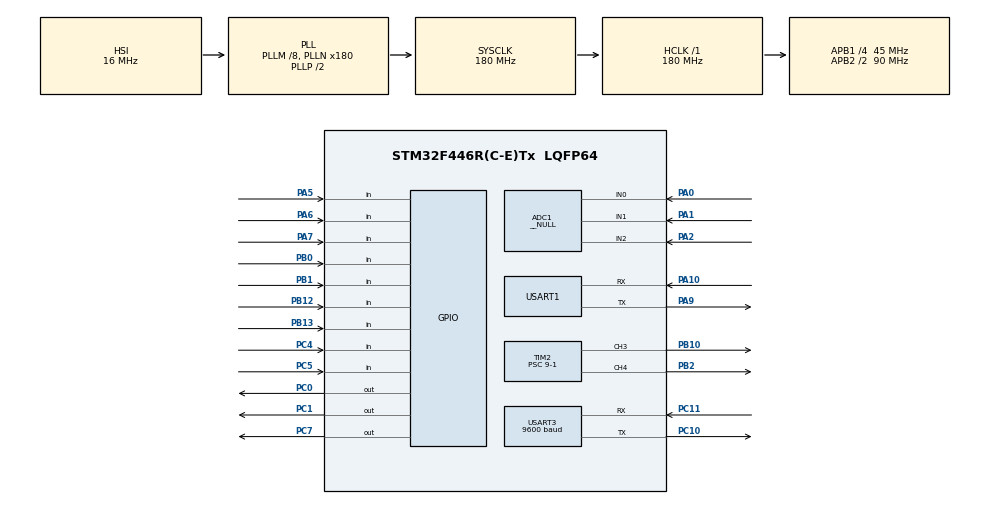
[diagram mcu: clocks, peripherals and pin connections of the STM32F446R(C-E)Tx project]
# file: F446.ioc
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ADC1.Channel-0\#ChannelRegularConversion=ADC_CHANNEL_0
ADC1.Channel-4\#ChannelRegularConversion=ADC_CHANNEL_1
ADC1.Channel-5\#ChannelRegularConversion=ADC_CHANNEL_2
ADC1.ContinuousConvMode=ENABLE
ADC1.DMAContinuousRequests=ENABLE
ADC1.InjNumberOfConversion=0
ADC1.Mode=__NULL
ADC1.NbrOfConversion=3
ADC1.NbrOfConversionFlag=1
ADC1.Rank-0\#ChannelRegularConversion=1
ADC1.Rank-4\#ChannelRegularConversion=2
ADC1.Rank-5\#ChannelRegularConversion=3
ADC1.SamplingTime-0\#ChannelRegularConversion=ADC_SAMPLETIME_56CYCLES
ADC1.SamplingTime-4\#ChannelRegularConversion=ADC_SAMPLETIME_28CYCLES
ADC1.SamplingTime-5\#ChannelRegularConversion=ADC_SAMPLETIME_28CYCLES
ADC1.ScanConvMode=ENABLE
ADC1.master=1
Dma.ADC1.3.Direction=DMA_PERIPH_TO_MEMORY
Dma.ADC1.3.FIFOMode=DMA_FIFOMODE_DISABLE
Dma.ADC1.3.Instance=DMA2_Stream4
Dma.ADC1.3.MemDataAlignment=DMA_MDATAALIGN_HALFWORD
Dma.ADC1.3.MemInc=DMA_MINC_ENABLE
Dma.ADC1.3.Mode=DMA_CIRCULAR
Dma.ADC1.3.PeriphDataAlignment=DMA_PDATAALIGN_HALFWORD
Dma.ADC1.3.PeriphInc=DMA_PINC_DISABLE
Dma.ADC1.3.Priority=DMA_PRIORITY_HIGH
Dma.MEMTOMEM.2.Direction=DMA_MEMORY_TO_MEMORY
Dma.MEMTOMEM.2.FIFOMode=DMA_FIFOMODE_ENABLE
Dma.MEMTOMEM.2.FIFOThreshold=DMA_FIFO_THRESHOLD_FULL
Dma.MEMTOMEM.2.Instance=DMA2_Stream0
Dma.MEMTOMEM.2.MemBurst=DMA_MBURST_SINGLE
Dma.MEMTOMEM.2.MemDataAlignment=DMA_MDATAALIGN_BYTE
Dma.MEMTOMEM.2.MemInc=DMA_MINC_ENABLE
Dma.MEMTOMEM.2.Mode=DMA_NORMAL
Dma.MEMTOMEM.2.PeriphBurst=DMA_PBURST_SINGLE
Dma.MEMTOMEM.2.PeriphDataAlignment=DMA_PDATAALIGN_BYTE
Dma.MEMTOMEM.2.PeriphInc=DMA_PINC_ENABLE
Dma.MEMTOMEM.2.Priority=DMA_PRIORITY_LOW
Dma.Request0=USART1_TX
Dma.Request1=USART1_RX
Dma.Request2=MEMTOMEM
Dma.Request3=ADC1
Dma.USART1_RX.1.Direction=DMA_PERIPH_TO_MEMORY
Dma.USART1_RX.1.FIFOMode=DMA_FIFOMODE_DISABLE
Dma.USART1_RX.1.Instance=DMA2_Stream2
Dma.USART1_RX.1.MemDataAlignment=DMA_MDATAALIGN_BYTE
Dma.USART1_RX.1.MemInc=DMA_MINC_ENABLE
Dma.USART1_RX.1.Mode=DMA_NORMAL
Dma.USART1_RX.1.PeriphDataAlignment=DMA_PDATAALIGN_BYTE
Dma.USART1_RX.1.PeriphInc=DMA_PINC_DISABLE
Dma.USART1_RX.1.Priority=DMA_PRIORITY_MEDIUM
Dma.USART1_TX.0.Direction=DMA_MEMORY_TO_PERIPH
Dma.USART1_TX.0.FIFOMode=DMA_FIFOMODE_DISABLE
Dma.USART1_TX.0.Instance=DMA2_Stream7
Dma.USART1_TX.0.MemDataAlignment=DMA_MDATAALIGN_BYTE
Dma.USART1_TX.0.MemInc=DMA_MINC_ENABLE
Dma.USART1_TX.0.Mode=DMA_NORMAL
Dma.USART1_TX.0.PeriphDataAlignment=DMA_PDATAALIGN_BYTE
Dma.USART1_TX.0.PeriphInc=DMA_PINC_DISABLE
Dma.USART1_TX.0.Priority=DMA_PRIORITY_MEDIUM
Mcu.Family=STM32F4
Mcu.Name=STM32F446R(C-E)Tx
Mcu.Package=LQFP64
NVIC.DMA2_Stream2_IRQn=true\:0\:0\:false\:false\:true\:false\:true\:true
NVIC.DMA2_Stream4_IRQn=true\:0\:0\:false\:false\:true\:false\:true\:true
NVIC.DMA2_Stream7_IRQn=true\:0\:0\:false\:false\:true\:false\:true\:true
NVIC.PriorityGroup=NVIC_PRIORITYGROUP_4
NVIC.TIM1_UP_TIM10_IRQn=true\:0\:0\:true\:false\:true\:true\:true\:true
NVIC.TIM3_IRQn=true\:0\:0\:false\:false\:true\:true\:true\:true
NVIC.USART1_IRQn=true\:15\:0\:true\:false\:true\:true\:true\:true
NVIC.USART3_IRQn=true\:0\:0\:false\:false\:true\:true\:true\:true
PA0-WKUP.Signal=ADCx_IN0
PA1.Signal=ADCx_IN1
PA10.GPIO_ModeDefaultPP=GPIO_MODE_AF_PP
PA10.GPIO_PuPd=GPIO_PULLUP
PA10.Mode=Asynchronous
PA10.Signal=USART1_RX
PA13.Mode=Serial_Wire
PA13.Signal=SYS_JTMS-SWDIO
PA14.Mode=Serial_Wire
PA14.Signal=SYS_JTCK-SWCLK
PA2.Signal=ADCx_IN2
PA5.GPIO_PuPd=GPIO_PULLUP
PA5.Signal=GPIO_Input
PA6.GPIO_PuPd=GPIO_PULLUP
PA6.Signal=GPIO_Input
PA7.GPIO_PuPd=GPIO_PULLUP
PA7.Signal=GPIO_Input
PA9.GPIO_ModeDefaultPP=GPIO_MODE_AF_PP
PA9.GPIO_PuPd=GPIO_PULLUP
PA9.Mode=Asynchronous
PA9.Signal=USART1_TX
PB0.GPIO_PuPd=GPIO_PULLUP
PB0.Signal=GPIO_Input
PB1.GPIO_PuPd=GPIO_PULLUP
PB1.Signal=GPIO_Input
PB10.Signal=S_TIM2_CH3
PB12.GPIO_PuPd=GPIO_PULLUP
PB12.Signal=GPIO_Input
PB13.GPIO_PuPd=GPIO_PULLUP
PB13.Signal=GPIO_Input
PB2.Signal=S_TIM2_CH4
PC0.Signal=GPIO_Output
PC1.Signal=GPIO_Output
PC10.Mode=Asynchronous
PC10.Signal=USART3_TX
PC11.Mode=Asynchronous
PC11.Signal=USART3_RX
PC4.GPIO_PuPd=GPIO_PULLUP
PC4.Signal=GPIO_Input
PC5.GPIO_PuPd=GPIO_PULLUP
PC5.Signal=GPIO_Input
PC7.GPIO_ModeDefaultOutputPP=GPIO_MODE_OUTPUT_PP
PC7.PinState=GPIO_PIN_RESET
PC7.Signal=GPIO_Output
PH0-OSC_IN.Mode=HSE-External-Oscillator
PH0-OSC_IN.Signal=RCC_OSC_IN
PH1-OSC_OUT.Mode=HSE-External-Oscillator
PH1-OSC_OUT.Signal=RCC_OSC_OUT
ProjectManager.HeapSize=0x200
ProjectManager.StackSize=0x400
ProjectManager.TargetToolchain=STM32CubeIDE
RCC.AHBFreq_Value=180000000
RCC.APB1CLKDivider=RCC_HCLK_DIV4
RCC.APB1Freq_Value=45000000
RCC.APB1TimFreq_Value=90000000
RCC.APB2CLKDivider=RCC_HCLK_DIV2
RCC.APB2Freq_Value=90000000
RCC.APB2TimFreq_Value=180000000
RCC.CortexFreq_Value=180000000
RCC.HCLKFreq_Value=180000000
RCC.HSE_VALUE=8000000
RCC.PLLM=8
RCC.PLLN=180
RCC.SYSCLKFreq_VALUE=180000000
RCC.SYSCLKSource=RCC_SYSCLKSOURCE_PLLCLK
RCC.USBFreq_Value=180000000
RCC.VCOOutputFreq_Value=360000000
SH.ADCx_IN0.0=ADC1_IN0,IN0
SH.ADCx_IN1.0=ADC1_IN1,IN1
SH.ADCx_IN2.0=ADC1_IN2,IN2
SH.S_TIM2_CH3.0=TIM2_CH3,PWM Generation3 CH3
SH.S_TIM2_CH4.0=TIM2_CH4,PWM Generation4 CH4
TIM1.AutoReloadPreload=TIM_AUTORELOAD_PRELOAD_ENABLE
TIM1.Period=999
TIM1.Prescaler=18
TIM2.Channel-PWM\ Generation3\ CH3=TIM_CHANNEL_3
TIM2.Channel-PWM\ Generation4\ CH4=TIM_CHANNEL_4
TIM2.Period=500
TIM2.Prescaler=9-1
TIM2.Pulse-PWM\ Generation3\ CH3=250
TIM2.Pulse-PWM\ Generation4\ CH4=250
TIM3.Period=999
TIM3.Prescaler=179
USART1.VirtualMode=VM_ASYNC
USART3.BaudRate=9600
USART3.VirtualMode=VM_ASYNC
VP_TIM1_VS_ClockSourceINT.Mode=Internal
VP_TIM3_VS_ClockSourceINT.Mode=Internal
board=custom

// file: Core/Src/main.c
/* USER CODE BEGIN Header */
/**
  ******************************************************************************
  * @file           : main.c
  * @brief          : Main program body
  ******************************************************************************
  * @attention
  *
  * Copyright (c) 2024 STMicroelectronics.
  * All rights reserved.
  *
  * This software is licensed under terms that can be found in the LICENSE file
  * in the root directory of this software component.
  * If no LICENSE file comes with this software, it is provided AS-IS.
  *
  ******************************************************************************
  */
/* USER CODE END Header */
#include "main.h"
#include "adc.h"
#include "dma.h"
#include "tim.h"
#include "usart.h"
#include "gpio.h"
#include "delay.h"
#include "stm32f4xx_it.h"
#include "ES1642.h"

/* USER CODE BEGIN Includes */
#include "bmp.h"
//#include "oled.h"
//#include "bmp.h"
/* USER CODE END Includes */

/* USER CODE BEGIN PD */
#define data_length 2
#define buff_length 17+data_length
/* USER CODE END PD */

/* USER CODE BEGIN PV */
u8     tmp[buff_length] = {0x79,0x0C,0x00,0x58,0x14,0x44,0x10,0xF9,0x30,0x50,0x68,0x00,0x53,0x02,0x00,0x03,0x04,0x09,0xB3};
uint8_t uart_tx_enabled = 0;
/*				  发送数据		 79H [Data]长度 Ctrl Cmd [RSV  深度 {        Dst Addr            } DataLen  User Data] SUM XOR*/
/* USER CODE END PV */

void SystemClock_Config(void);

//uint8_t rx_data=0;
//volatile uint8_t flag_received = 0;

int main(void)
{
  /* USER CODE BEGIN 1 */
//	Temp_PWM_Control();
  /* USER CODE END 1 */
  /* MCU Configuration--------------------------------------------------------*/

  /* Reset of all peripherals, Initializes the Flash interface and the Systick. */
  HAL_Init();

  /* Configure the system clock */
  SystemClock_Config();

  /* USER CODE BEGIN SysInit */
  SysTick_Config(SystemCoreClock / 1000);
//  u8 t=' ';
  delay_init();

  /* USER CODE END SysInit */

  /* Initialize all configured peripherals */

  MX_DMA_Init();
  MX_USART1_UART_Init();
  MX_ADC1_Init();
  MX_TIM1_Init();

  MX_TIM3_Init();
	MX_TIM2_Init();
	MX_GPIO_Init();
  StateMachine_Init(&stateMach);
  /* USER CODE BEGIN 2 */
  OLED_Init();
  HAL_ADC_Start_DMA(&hadc1, (uint32_t *)AdcBuf, 5);
  HAL_TIM_Base_Start_IT(&htim1);
  HAL_TIM_Base_Start_IT(&htim3);
  HAL_UART_Receive_IT(&huart1,(uint8_t *)stateMach.bt_rx_buffer, 1);

  HAL_TIM_PWM_Start(&htim2, TIM_CHANNEL_3);
  HAL_TIM_PWM_Start(&htim2, TIM_CHANNEL_4);
  __HAL_TIM_SetCompare(&htim2,TIM_CHANNEL_3,duty1);
  __HAL_TIM_SetCompare(&htim2,TIM_CHANNEL_4,duty2);
  frame_length = build_data_frame(broadcast_addr,heartRxData,sizeof(heartRxData),1,ES1642_frame,sizeof(ES1642_frame));
//  debug_testflash_struct();
  /* USER CODE END 2 */
  delay_ms(3000);
  MX_USART3_UART_Init();
  HAL_UART_Receive_IT(&huart3, RX_data, 1);
  /* Infinite loop */
  /* USER CODE BEGIN WHILE */
  while (1)
  {
//    OLEDStatus_Display();
//    StateMachine_BT_sent();
//    StateMachine_BT_receive();
//    stateMach.maxcurrent=100;
//    Temp_PWM_Control();
//    for (i = 0; i < frame_length; i++)
//    HAL_UART_Transmit(&huart3, &ES1642_frame[i], 1, HAL_MAX_DELAY);
//    uart3_process();
//    delay_ms(500);
//    for( i=0; i<buff_length; i++) HAL_UART_Transmit(&huart3, &tmp[i], 1,HAL_MAX_DELAY);
//    for (i = 0; i < frame_length; i++)
//    HAL_UART_Transmit(&huart3, &ES1642_frame[i], 1,HAL_MAX_DELAY);

    __HAL_TIM_SetCompare(&htim2,TIM_CHANNEL_3,duty1);
	__HAL_TIM_SetCompare(&htim2,TIM_CHANNEL_4,duty2);
    /* USER CODE END WHILE */
	if (stateMach.v_in_filtered>83)
	{
		uart_tx_enabled = 0;
	}
	if (stateMach.v_in_filtered<81)
		{
		uart_tx_enabled = 1;
//			HAL_GPIO_TogglePin(GPIOC, GPIO_PIN_7);
		}
  }
}

void SystemClock_Config(void)
{
  RCC_OscInitTypeDef RCC_OscInitStruct = {0};
  RCC_ClkInitTypeDef RCC_ClkInitStruct = {0};

  /** Configure the main internal regulator output voltage
  */
  __HAL_RCC_PWR_CLK_ENABLE();
  __HAL_PWR_VOLTAGESCALING_CONFIG(PWR_REGULATOR_VOLTAGE_SCALE1);

//   while (__HAL_PWR_GET_FLAG(PWR_FLAG_VOSRDY) != SET) {
//    // 等待直到调节器准备就绪
//  }

  /** Initializes the RCC Oscillators according to the specified parameters
  * in the RCC_OscInitTypeDef structure.
  */
  RCC_OscInitStruct.OscillatorType = RCC_OSCILLATORTYPE_HSI;
  RCC_OscInitStruct.HSIState = RCC_HSI_ON;
  RCC_OscInitStruct.HSICalibrationValue = RCC_HSICALIBRATION_DEFAULT;
  RCC_OscInitStruct.PLL.PLLState = RCC_PLL_ON;
  RCC_OscInitStruct.PLL.PLLSource = RCC_PLLSOURCE_HSI;
  RCC_OscInitStruct.PLL.PLLM = 8;
  RCC_OscInitStruct.PLL.PLLN = 180;
  RCC_OscInitStruct.PLL.PLLP = RCC_PLLP_DIV2;
  RCC_OscInitStruct.PLL.PLLQ = 2;
  RCC_OscInitStruct.PLL.PLLR = 2;
  if (HAL_RCC_OscConfig(&RCC_OscInitStruct) != HAL_OK)
  {
    Error_Handler();
  }

  /** Activate the Over-Drive mode
  */
  if (HAL_PWREx_EnableOverDrive() != HAL_OK)
  {
    Error_Handler();
  }

  /** Initializes the CPU, AHB and APB buses clocks
  */
  RCC_ClkInitStruct.ClockType = RCC_CLOCKTYPE_HCLK|RCC_CLOCKTYPE_SYSCLK
                              |RCC_CLOCKTYPE_PCLK1|RCC_CLOCKTYPE_PCLK2;
  RCC_ClkInitStruct.SYSCLKSource = RCC_SYSCLKSOURCE_PLLCLK;
  RCC_ClkInitStruct.AHBCLKDivider = RCC_SYSCLK_DIV1;
  RCC_ClkInitStruct.APB1CLKDivider = RCC_HCLK_DIV4;
  RCC_ClkInitStruct.APB2CLKDivider = RCC_HCLK_DIV2;

  if (HAL_RCC_ClockConfig(&RCC_ClkInitStruct, FLASH_LATENCY_5) != HAL_OK)
  {
    Error_Handler();
  }
}

void Error_Handler(void)
{
  __disable_irq();
  while (1)
  {
  }
}
